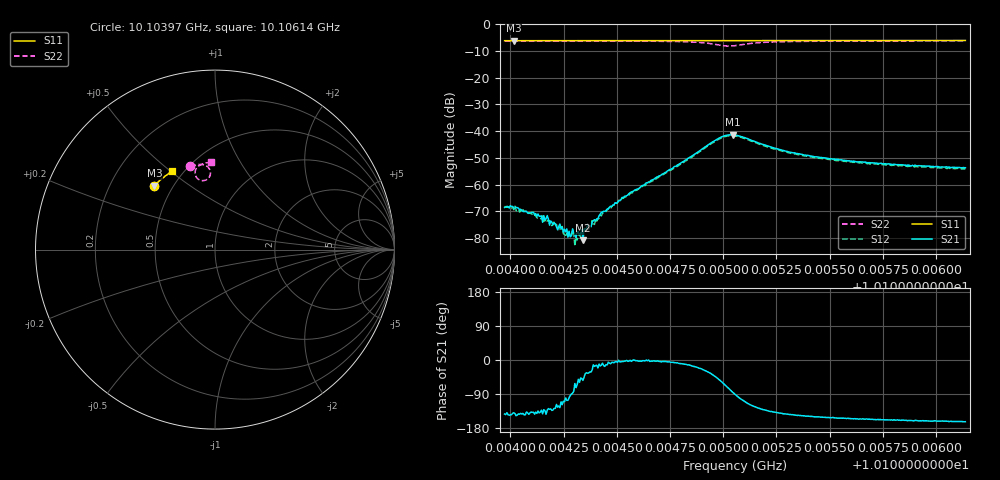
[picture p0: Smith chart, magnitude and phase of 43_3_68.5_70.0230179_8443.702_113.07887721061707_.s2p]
#  HZ  S  RI  R  50.00
! Rohde & Schwarz Vector Network Analyzer
! Rohde-Schwarz,ZNB20-2Port,1311601062101988,3.16
! Created: UTC 3/20/2024, 4:50:26 PM
! freq[Hz]  re:S11  im:S11  re:S21  im:S21  re:S12  im:S12  re:S22  im:S22
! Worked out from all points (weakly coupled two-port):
!   401 points, 10.10397 GHz to 10.10614 GHz, reference 50 ohm
!   highest |S21| = -41.38 dB at 10.10504 GHz (marker M1); lowest = -80.8 dB at 10.10434 GHz (marker M2)
!   lowest |S11| = -6.2 dB at 10.10402 GHz (marker M3), VSWR 2.93, Z = 19.8 + j18.6 ohm
!   |S11| at or under -10 dB: nowhere
!   |S22| runs from -8.2 to -6.2 dB; largest |S21 - S12| = 0.00086
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1.0103973e10  -0.3396 0.355  -0.000297 -0.000227  -0.000298 -0.000252  -0.1366 0.4639
1.0104016e10  -0.3377 0.3568  -0.000275 -0.000237  -0.000249 -0.000228  -0.1335 0.465
1.0104157e10  -0.3316 0.3632  -0.000171 -0.000197  -0.000131 -0.000159  -0.1233 0.4679
1.0104168e10  -0.3313 0.3636  -0.000184 -0.000138  -0.000157 -0.000165  -0.1225 0.4681
1.0104211e10  -0.3294 0.3653  -0.000112 -0.000145  -7.48e-05 -0.000161  -0.1193 0.4689
1.0104233e10  -0.3284 0.3663  -0.000106 -0.000148  -7.09e-05 -0.000156  -0.1177 0.4693
1.010426e10  -0.3271 0.3675  -2.27e-05 -0.000128  -2.88e-05 -0.0001  -0.1156 0.4698
1.0104287e10  -0.326 0.3685  1.12e-07 -0.000112  1.38e-06 -0.00011  -0.1135 0.4705
1.0104314e10  -0.3247 0.3697  5.51e-05 -0.000118  5.71e-05 -7.19e-05  -0.1113 0.471
1.0104336e10  -0.3238 0.3706  9.45e-05 -0.000109  0.000106 -8.27e-05  -0.1094 0.4714
1.0104341e10  -0.3237 0.3709  5.38e-05 -7.34e-05  9.41e-05 -8.15e-05  -0.1092 0.4715
1.0104368e10  -0.3224 0.372  0.000142 -9.67e-05  0.000121 -7.26e-05  -0.1068 0.4719
1.0104428e10  -0.3199 0.3744  0.000294 -7.1e-05  0.000259 -2.02e-05  -0.1015 0.4728
1.010452e10  -0.3157 0.3783  0.000521 -4.03e-05  0.000508 1.77e-05  -0.093 0.474
1.0104698e10  -0.3075 0.3855  0.00145 -0.000102  0.00139 2.72e-05  -0.0718 0.4743
1.0104974e10  -0.2944 0.3958  0.00472 -0.00539  0.00498 -0.00477  -0.0285 0.4106
1.0105045e10  -0.2913 0.3983  0.000722 -0.0085  0.00144 -0.00807  -0.0761 0.3848
1.0105056e10  -0.2907 0.3987  -5.77e-05 -0.00844  0.000667 -0.00805  -0.0845 0.3872
1.010524e10  -0.2823 0.4059  -0.00355 -0.00327  -0.00313 -0.0034  -0.1013 0.4555
1.0105418e10  -0.2735 0.4124  -0.00291 -0.00174  -0.00263 -0.00189  -0.0795 0.473
1.0105781e10  -0.2554 0.4251  -0.00225 -0.000901  -0.00208 -0.00106  -0.0471 0.4833
1.0106138e10  -0.2371 0.4365  -0.00197 -0.000614  -0.00182 -0.000756  -0.0205 0.4872
